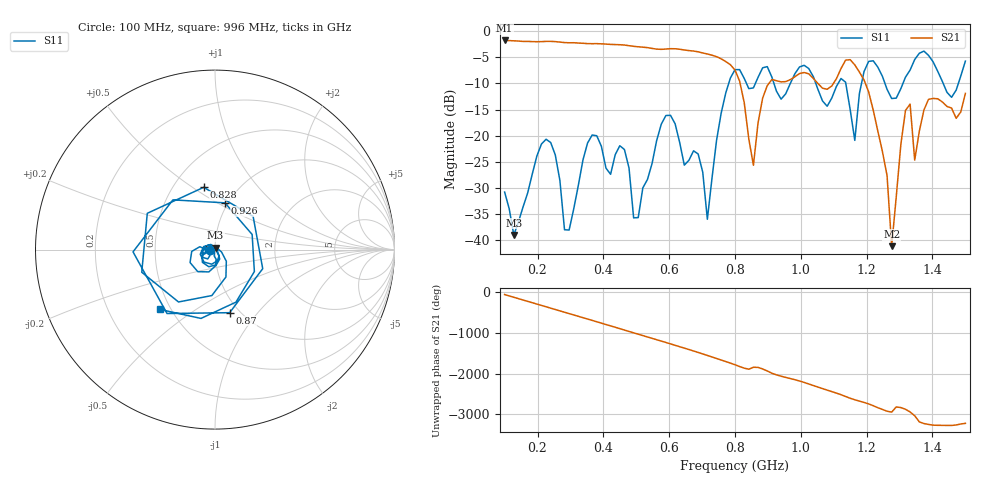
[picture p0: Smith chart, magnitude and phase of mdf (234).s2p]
! NanoVNA-App
! Date: 2025-09-25 15:40:15
! Start: 100MHz Stop: 1,5GHz Points: 101
! S-Parameter data: F S11 S21 S12 S22
# Hz S RI R 50
!  Frequency  S11_Real  S11_Imag  S21_Real  S21_Imag  S12_Real  S12_Imag  S22_Real  S22_Imag
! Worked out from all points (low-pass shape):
!   101 points, 100 MHz to 1.5 GHz, reference 50 ohm
!   highest |S21| = -1.80 dB at 100 MHz (marker M1); lowest = -41.1 dB at 1.276 GHz (marker M2)
!   |S21| within 3 dB of the highest: start of sweep to 739.2 MHz
!   lowest |S11| = -39.0 dB at 128 MHz (marker M3), VSWR 1.02, Z = 50.3 + j1.08 ohm
!   |S11| at or under -10 dB: start of sweep to 781 MHz; 918.2 MHz to 968.2 MHz (50 MHz wide, 5.3 % of centre); 1.045 GHz to 1.114 GHz (68.18 MHz wide, 6.32 % of centre) (the widest 3 of 7)
!   S12 and S22 are empty: the file has one direction only
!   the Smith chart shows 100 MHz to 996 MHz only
!   S11 on the Smith chart (normalised r, x): 100 MHz: 0.94, -0.01; 828 MHz: 0.70, +0.56; 870 MHz: 0.90, -0.73; 926 MHz: 0.97, +0.54; 996 MHz: 0.44, -0.37
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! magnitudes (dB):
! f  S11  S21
! 100 MHz  -30.8  -1.8
! 128 MHz  -39.0  -1.9
! 212 MHz  -21.6  -2.0
! 282 MHz  -38.0  -2.2
! 338 MHz  -24.6  -2.3
! 464 MHz  -22.6  -2.7
! 506 MHz  -35.6  -3.0
! 576 MHz  -17.8  -3.5
! 716 MHz  -36.0  -4.4
! 800 MHz  -7.4  -7.5
! 828 MHz  -9.1  -13.7
! 856 MHz  -10.9  -25.7
! 870 MHz  -8.9  -17.6
! 926 MHz  -11.5  -9.5
! 996 MHz  -6.9  -8.1
! 1.038 GHz  -8.7  -9.1
! 1.164 GHz  -20.9  -6.5
! 1.192 GHz  -7.8  -9.3
! 1.276 GHz  -12.9  -41.1
! 1.318 GHz  -8.8  -15.2
! 1.346 GHz  -5.4  -24.7
! 1.5 GHz  -5.8  -11.9
